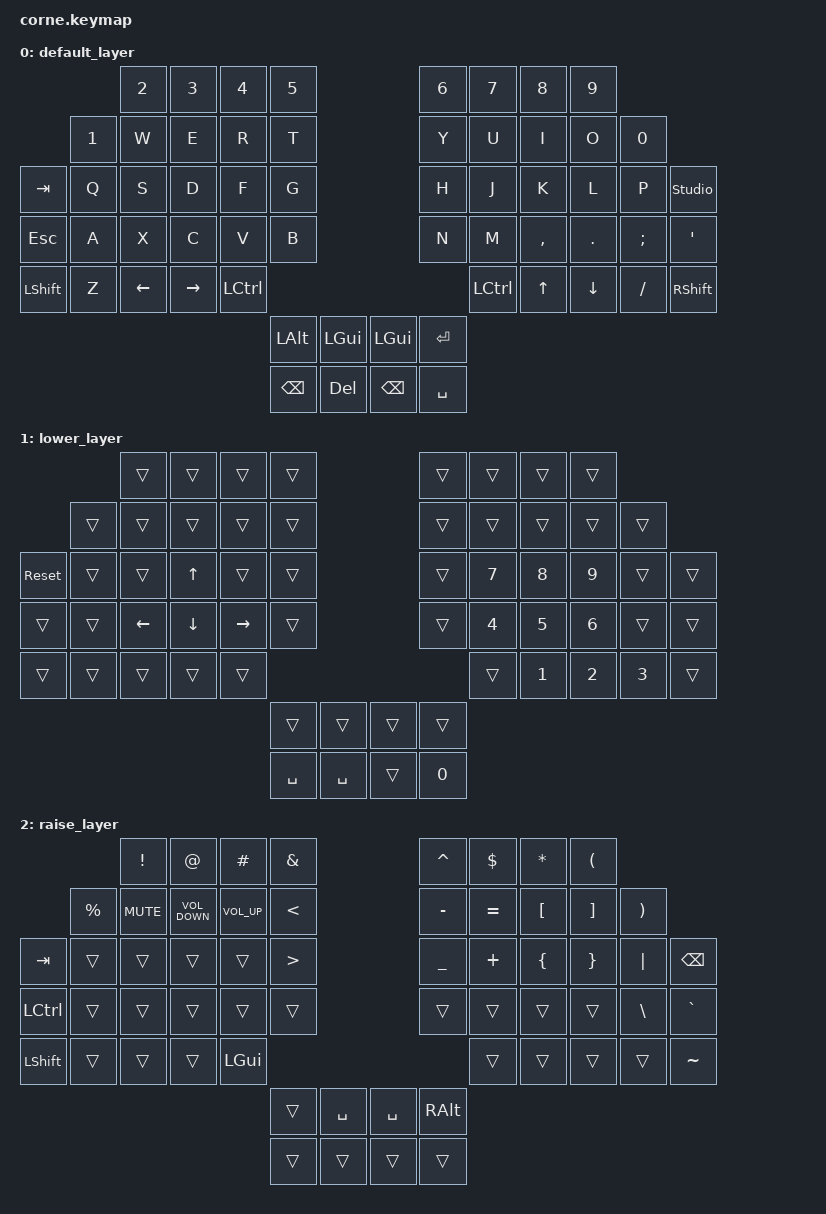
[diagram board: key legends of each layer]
/*
 * Copyright (c) 2020 The ZMK Contributors
 *
 * SPDX-License-Identifier: MIT
 */

#include <behaviors.dtsi>
#include <dt-bindings/zmk/keys.h>

/ {
    behaviors {
        bslh_studio: bslh_studio {
            compatible = "zmk,behavior-hold-tap";
            #binding-cells = <2>;
            flavor = "tap-preferred";
            tapping-term-ms = <200>;
            bindings = <&studio_unlock>, <&kp>;
        };
    };

    combos {
        compatible = "zmk,combos";

        Escape {
            bindings = <&kp ESC>;
            key-positions = <8 17>;
        };

        OpenParenthesis {
            bindings = <&kp LEFT_PARENTHESIS>;
            key-positions = <4 5>;
        };

        OpenBrace {
            bindings = <&kp LEFT_BRACE>;
            key-positions = <24 25>;
        };

        OpenBracket {
            bindings = <&kp LEFT_BRACKET>;
            key-positions = <36 37>;
        };

        CloseParenthasis {
            bindings = <&kp RIGHT_PARENTHESIS>;
            key-positions = <5 6>;
        };

        CloseBrace {
            bindings = <&kp RIGHT_BRACE>;
            key-positions = <25 26>;
        };

        CloseBracket {
            bindings = <&kp RIGHT_BRACKET>;
            key-positions = <37 38>;
        };

        LessThan {
            bindings = <&kp LESS_THAN>;
            key-positions = <1 2>;
        };

        GreatherThan {
            bindings = <&kp GREATER_THAN>;
            key-positions = <2 3>;
        };

        Enter {
            bindings = <&kp ENTER>;
            key-positions = <54 55>;
        };
    };

    keymap {
        compatible = "zmk,keymap";

        default_layer {
            // -----------------------------------------------------------------------------------------
            //              |  2  |  3  |  4  |  5  |                                      |  6  |  7  |  8  |  9  |              
            //        |  1  |  W  |  E  |  R  |  T  |                                      |  Y  |  U  |  I  |  O  |  0  |      
            //  | TAB |  Q  |  S  |  D  |  F  |  G  |                                      |  H  |  J  |  K  |  L  |  P  | BSLS |
            //  | ESC |  A  |  X  |  C  |  V  |  B  |                                      |  N  |  M  |  ,  |  .  |  ;  | QUOT |
            //  | SHFT|  Z  | LFT | RGT |             | LCTL |                      | LCTL |             | UP  | DWN | SLS | SHFT|
            //                                                | LALT | LGUI |  | LGUI | ENT |                                     
            //                                                | BSPC | DEL  |  | BSPC | SPC |

            bindings = <
                        &kp N2         &kp N3    &kp N4     &kp N5                                            &kp N6      &kp N7     &kp N8    &kp N9
                &kp N1  &kp W          &kp E     &kp R      &kp T                                             &kp Y       &kp U      &kp I     &kp O     &kp N0
        &kp TAB &kp Q   &kp S          &kp D     &kp F      &kp G                                             &kp H       &kp J      &kp K     &kp L     &kp P     &studio_unlock
        &kp ESC &kp A   &kp X          &kp C     &kp V      &kp B                                             &kp N       &kp M      &kp COMMA &kp DOT   &kp SEMI  &kp SQT
        &kp LSHFT &kp Z &kp LEFT       &kp RIGHT                 &kp LCTRL                           &kp LCTRL                      &kp UP    &kp DOWN  &kp FSLH  &kp RSHFT
                                                                 &kp LALT   &kp LGUI       &kp LGUI  &kp ENTER
                                                                 &kp BSPC   &kp DEL        &kp BSPC  &kp SPACE
            >;
        };

        lower_layer {
            // -----------------------------------------------------------------------------------------
            //              |     |     |     |     |                                      |     |     |     |     |              
            //        |     |     |     |     |     |                                      |     |     |     |     |     |      
            //  | SYSR|     |     | UP  |     |     |                                      |     |  7  |  8  |  9  |     |     |
            //  |     |     | LFT | DWN | RGT |     |                                      |     |  4  |  5  |  6  |     |     |
            //  |     |     |     |     |             |     |                       |     |             |  1  |  2  |  3  |     |
            //                                                |     |     |  |     |     |                                     
            //                                                | SPC | SPC |  |     |  0  |

            bindings = <
                        &trans  &trans    &trans    &trans                                            &trans  &trans        &trans        &trans
                &trans  &trans  &trans    &trans    &trans                                            &trans  &trans        &trans        &trans        &trans
        &sys_reset &trans &trans &kp UP    &trans    &trans                                            &trans  &kp NUMBER_7  &kp NUMBER_8  &kp NUMBER_9  &trans  &trans
        &trans  &trans  &kp LEFT  &kp DOWN  &kp RIGHT &trans                                            &trans  &kp NUMBER_4  &kp NUMBER_5  &kp NUMBER_6  &trans  &trans
        &trans  &trans  &trans    &trans                      &trans                            &trans                      &kp NUMBER_1  &kp NUMBER_2  &kp NUMBER_3  &trans
                                                                               &trans    &trans  &trans  &trans
                                                                               &kp SPACE &kp SPACE &trans &kp N0
            >;
        };

        raise_layer {
            // -----------------------------------------------------------------------------------------
            //              |  !  |  @  |  #  |  &  |                                      |  ^  |  $  |  *  |  (  |              
            //        |  %  |MUTE |V_DN |V_UP |  <  |                                      |  -  |  =  |  [  |  ]  |  )  |      
            //  | TAB |     |     |     |     |  >  |                                      |  _  |  +  |  {  |  }  | "|" | BSPC |
            //  | CTRL|     |     |     |     |     |                                      |     |     |     |     |  \  |  `   |
            //  | SHFT|     |     |     |             | LGUI |                      |     |             |     |     |     |  ~   |
            //                                                |     | SPC |  | SPC | RALT |                                     
            //                                                |     |     |  |     |     |

            bindings = <
                        &kp EXCL        &kp AT            &kp HASH            &kp AMPERSAND                                            &kp CARET  &kp DOLLAR  &kp ASTRK  &kp LPAR
                &kp PRCNT  &kp C_MUTE   &kp C_VOLUME_DOWN &kp C_VOLUME_UP     &kp LESS_THAN                                            &kp MINUS  &kp EQUAL   &kp LBKT   &kp RBKT  &kp RPAR
        &kp TAB &trans      &trans       &trans            &trans              &kp GREATER_THAN                                         &kp UNDER  &kp PLUS    &kp LBRC   &kp RBRC  &kp PIPE  &kp BSPC
        &kp LCTRL &trans    &trans       &trans            &trans              &trans                                                   &trans     &trans      &trans     &trans    &kp BSLH  &kp GRAVE
        &kp LSHFT &trans    &trans       &trans                                        &kp LGUI                         &trans                                  &trans     &trans    &trans    &kp TILDE
                                                                                                   &trans    &kp SPACE  &kp SPACE  &kp RALT
                                                                                                   &trans    &trans     &trans     &trans
            >;
        };
    };
};


//For new Layers
    // -----------------------------------------------------------------------------------------
    // |      |     |     |     |     |     |   |     |     |     |     |     |      |
    // |      |     |     |     |     |     |   |     |     |     |     |     |      |
    // |      |     |     |     |     |     |   |     |     |     |     |     |      |
    //                    |     |     |     |   |     |     |     |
